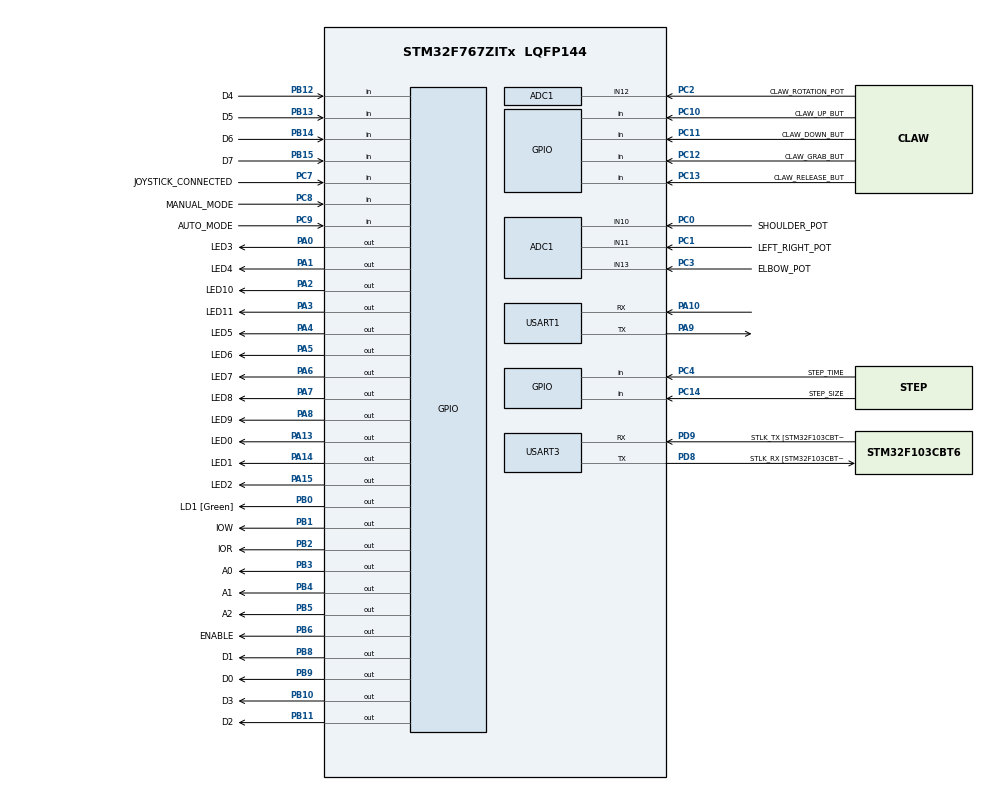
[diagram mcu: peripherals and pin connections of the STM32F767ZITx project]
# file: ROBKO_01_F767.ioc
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ADC1.Channel-0\#ChannelRegularConversion=ADC_CHANNEL_10
ADC1.Channel-1\#ChannelRegularConversion=ADC_CHANNEL_11
ADC1.Channel-2\#ChannelRegularConversion=ADC_CHANNEL_12
ADC1.Channel-3\#ChannelRegularConversion=ADC_CHANNEL_13
ADC1.ClockPrescaler=ADC_CLOCK_SYNC_PCLK_DIV8
ADC1.ContinuousConvMode=ENABLE
ADC1.DMAContinuousRequests=ENABLE
ADC1.EOCSelection=ADC_EOC_SEQ_CONV
ADC1.NbrOfConversion=4
ADC1.NbrOfConversionFlag=1
ADC1.Rank-0\#ChannelRegularConversion=1
ADC1.Rank-1\#ChannelRegularConversion=2
ADC1.Rank-2\#ChannelRegularConversion=3
ADC1.Rank-3\#ChannelRegularConversion=4
ADC1.SamplingTime-0\#ChannelRegularConversion=ADC_SAMPLETIME_112CYCLES
ADC1.SamplingTime-1\#ChannelRegularConversion=ADC_SAMPLETIME_112CYCLES
ADC1.SamplingTime-2\#ChannelRegularConversion=ADC_SAMPLETIME_112CYCLES
ADC1.SamplingTime-3\#ChannelRegularConversion=ADC_SAMPLETIME_112CYCLES
ADC1.ScanConvMode=ADC_SCAN_ENABLE
ADC1.master=1
CORTEX_M7.CPU_DCache=Disabled
Dma.ADC1.0.Direction=DMA_PERIPH_TO_MEMORY
Dma.ADC1.0.FIFOMode=DMA_FIFOMODE_DISABLE
Dma.ADC1.0.Instance=DMA2_Stream0
Dma.ADC1.0.MemDataAlignment=DMA_MDATAALIGN_HALFWORD
Dma.ADC1.0.MemInc=DMA_MINC_ENABLE
Dma.ADC1.0.Mode=DMA_CIRCULAR
Dma.ADC1.0.PeriphDataAlignment=DMA_PDATAALIGN_HALFWORD
Dma.ADC1.0.PeriphInc=DMA_PINC_DISABLE
Dma.ADC1.0.Priority=DMA_PRIORITY_MEDIUM
Dma.Request0=ADC1
Mcu.Family=STM32F7
Mcu.Name=STM32F767ZITx
Mcu.Package=LQFP144
NVIC.DMA2_Stream0_IRQn=true\:0\:0\:false\:false\:true\:false\:true
NVIC.PriorityGroup=NVIC_PRIORITYGROUP_4
NVIC.USART1_IRQn=true\:0\:0\:false\:false\:true\:true\:true
PA0/WKUP.GPIO_Label=LED3
PA0/WKUP.Signal=GPIO_Output
PA1.GPIO_Label=LED4
PA1.Signal=GPIO_Output
PA10.Mode=Asynchronous
PA10.Signal=USART1_RX
PA13.GPIO_Label=LED0
PA13.Signal=GPIO_Output
PA14.GPIO_Label=LED1
PA14.Signal=GPIO_Output
PA15.GPIO_Label=LED2
PA15.Signal=GPIO_Output
PA2.GPIO_Label=LED10
PA2.Signal=GPIO_Output
PA3.GPIO_Label=LED11
PA3.Signal=GPIO_Output
PA4.GPIO_Label=LED5
PA4.Signal=GPIO_Output
PA5.GPIO_Label=LED6
PA5.Signal=GPIO_Output
PA6.GPIO_Label=LED7
PA6.Signal=GPIO_Output
PA7.GPIO_Label=LED8
PA7.Signal=GPIO_Output
PA8.GPIO_Label=LED9
PA8.Signal=GPIO_Output
PA9.Mode=Asynchronous
PA9.Signal=USART1_TX
PB0.GPIO_Label=LD1 [Green]
PB0.Signal=GPIO_Output
PB1.GPIO_Label=IOW
PB1.Signal=GPIO_Output
PB10.GPIO_Label=D3
PB10.Signal=GPIO_Output
PB11.GPIO_Label=D2
PB11.Signal=GPIO_Output
PB12.GPIO_Label=D4
PB12.Signal=GPIO_Input
PB13.GPIO_Label=D5
PB13.Signal=GPIO_Input
PB14.GPIO_Label=D6
PB14.Signal=GPIO_Input
PB15.GPIO_Label=D7
PB15.Signal=GPIO_Input
PB2.GPIO_Label=IOR
PB2.Signal=GPIO_Output
PB3.GPIO_Label=A0
PB3.Signal=GPIO_Output
PB4.GPIO_Label=A1
PB4.Signal=GPIO_Output
PB5.GPIO_Label=A2
PB5.Signal=GPIO_Output
PB6.GPIO_Label=ENABLE
PB6.Signal=GPIO_Output
PB8.GPIO_Label=D1
PB8.Signal=GPIO_Output
PB9.GPIO_Label=D0
PB9.Signal=GPIO_Output
PC0.GPIO_Label=SHOULDER_POT
PC0.Signal=ADCx_IN10
PC1.GPIO_Label=LEFT_RIGHT_POT
PC1.Signal=ADCx_IN11
PC10.GPIO_Label=CLAW_UP_BUT
PC10.Signal=GPIO_Input
PC11.GPIO_Label=CLAW_DOWN_BUT
PC11.Signal=GPIO_Input
PC12.GPIO_Label=CLAW_GRAB_BUT
PC12.Signal=GPIO_Input
PC13.GPIO_Label=CLAW_RELEASE_BUT
PC13.Signal=GPIO_Input
PC14/OSC32_IN.GPIO_Label=STEP_SIZE
PC14/OSC32_IN.Signal=GPIO_Input
PC2.GPIO_Label=CLAW_ROTATION_POT
PC2.Signal=ADCx_IN12
PC3.GPIO_Label=ELBOW_POT
PC3.Signal=ADCx_IN13
PC4.GPIO_Label=STEP_TIME
PC4.Signal=GPIO_Input
PC7.GPIO_Label=JOYSTICK_CONNECTED
PC7.Signal=GPIO_Input
PC8.GPIO_Label=MANUAL_MODE
PC8.Signal=GPIO_Input
PC9.GPIO_Label=AUTO_MODE
PC9.Signal=GPIO_Input
PD8.GPIO_Label=STLK_RX [STM32F103CBT6_PA3]
PD8.Mode=Asynchronous
PD8.Signal=USART3_TX
PD9.GPIO_Label=STLK_TX [STM32F103CBT6_PA2]
PD9.Mode=Asynchronous
PD9.Signal=USART3_RX
PH0/OSC_IN.GPIO_Label=MCO [STM32F103CBT6_PA8]
PH0/OSC_IN.Mode=HSE-External-Clock-Source
PH0/OSC_IN.Signal=RCC_OSC_IN
PH1/OSC_OUT.Mode=HSE-External-Clock-Source
PH1/OSC_OUT.Signal=RCC_OSC_OUT
ProjectManager.HeapSize=0x200
ProjectManager.StackSize=0x400
ProjectManager.TargetToolchain=SW4STM32
RCC.48MHZClocksFreq_Value=24000000
RCC.AHBFreq_Value=160000000
RCC.APB1CLKDivider=RCC_HCLK_DIV4
RCC.APB1Freq_Value=40000000
RCC.APB1TimFreq_Value=80000000
RCC.APB2CLKDivider=RCC_HCLK_DIV2
RCC.APB2Freq_Value=80000000
RCC.APB2TimFreq_Value=160000000
RCC.CortexFreq_Value=160000000
RCC.EnbaleCSS=true
RCC.HCLKFreq_Value=160000000
RCC.HSE_VALUE=8000000
RCC.HSI_VALUE=16000000
RCC.LSE_VALUE=32768
RCC.PLL48CLockSelection=RCC_CLK48SOURCE_PLLSAIP
RCC.PLLM=4
RCC.PLLMUL=RCC_PLL_MUL9
RCC.PLLN=160
RCC.PLLQ=8
RCC.PLLSAIN=96
RCC.PLLSAIP=RCC_PLLSAIP_DIV4
RCC.PLLSourceVirtual=RCC_PLLSOURCE_HSE
RCC.PRESCALERUSB=RCC_USBCLKSOURCE_PLL_DIV1_5
RCC.SYSCLKFreq_VALUE=160000000
RCC.SYSCLKSource=RCC_SYSCLKSOURCE_PLLCLK
RCC.SYSCLKSourceVirtual=RCC_SYSCLKSOURCE_PLLCLK
RCC.USBFreq_Value=48000000
RCC.VCOOutputFreq_Value=320000000
SH.ADCx_IN10.0=ADC1_IN10,IN10
SH.ADCx_IN11.0=ADC1_IN11,IN11
SH.ADCx_IN12.0=ADC1_IN12,IN12
SH.ADCx_IN13.0=ADC1_IN13,IN13
USART1.Parity=PARITY_ODD
USART1.StopBits=STOPBITS_2
USART1.VirtualMode-Asynchronous=VM_ASYNC
USART1.WordLength=WORDLENGTH_9B
USART3.VirtualMode-Asynchronous=VM_ASYNC
board=NUCLEO-F767ZI

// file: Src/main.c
/* USER CODE BEGIN Header */
/**
  ******************************************************************************
  * @file           : main.c
  * @brief          : Main program body
  ******************************************************************************
  * @attention
  *
  * <h2><center>&copy; Copyright (c) 2020 STMicroelectronics.
  * All rights reserved.</center></h2>
  *
  * This software component is licensed by ST under BSD 3-Clause license,
  * the "License"; You may not use this file except in compliance with the
  * License. You may obtain a copy of the License at:
  *                        opensource.org/licenses/BSD-3-Clause
  *
  ******************************************************************************
  */
/* USER CODE END Header */

#include "main.h"

void SystemClock_Config(void);
static void MX_GPIO_Init(void);
static void MX_DMA_Init(void);
static void MX_ADC1_Init(void);
static void MX_USART1_UART_Init(void);
static void MX_USART3_UART_Init(void);

int main(void)
{

  /* MCU Configuration--------------------------------------------------------*/

  /* Reset of all peripherals, Initializes the Flash interface and the Systick. */

  LL_APB1_GRP1_EnableClock(LL_APB1_GRP1_PERIPH_PWR);
  LL_APB2_GRP1_EnableClock(LL_APB2_GRP1_PERIPH_SYSCFG);

  NVIC_SetPriorityGrouping(NVIC_PRIORITYGROUP_4);

  /* System interrupt init*/

  /* Configure the system clock */
  SystemClock_Config();

  /* Initialize all configured peripherals */
  MX_GPIO_Init();
  MX_DMA_Init();
  MX_ADC1_Init();
  MX_USART1_UART_Init();
  MX_USART3_UART_Init();
  /* USER CODE BEGIN 2 */
  DWT_Init();
  //Begin reading potentiometer values
  LL_ADC_REG_StartConversion(ADC1);
  //Enable ROBKO 01
  ENABLE_ROBKO();
  //Initialize ROBKO-01 registers
  stop_motor(ALL_MOTORS);
  /* USER CODE END 2 */

  /* Infinite loop */
  /* USER CODE BEGIN WHILE */
  while (1)
  {
  check_mode();
    /* USER CODE END WHILE */

  }
}

void SystemClock_Config(void)
{
  LL_FLASH_SetLatency(LL_FLASH_LATENCY_5);

  if(LL_FLASH_GetLatency() != LL_FLASH_LATENCY_5)
  {
  Error_Handler();
  }
  LL_PWR_SetRegulVoltageScaling(LL_PWR_REGU_VOLTAGE_SCALE2);
  LL_PWR_DisableOverDriveMode();
  LL_RCC_HSE_EnableBypass();
  LL_RCC_HSE_Enable();

   /* Wait till HSE is ready */
  while(LL_RCC_HSE_IsReady() != 1)
  {

  }
  LL_RCC_HSE_EnableCSS();
  LL_RCC_PLL_ConfigDomain_SYS(LL_RCC_PLLSOURCE_HSE, LL_RCC_PLLM_DIV_4, 160, LL_RCC_PLLP_DIV_2);
  LL_RCC_PLL_Enable();

   /* Wait till PLL is ready */
  while(LL_RCC_PLL_IsReady() != 1)
  {

  }
  LL_RCC_SetAHBPrescaler(LL_RCC_SYSCLK_DIV_1);
  LL_RCC_SetAPB1Prescaler(LL_RCC_APB1_DIV_4);
  LL_RCC_SetAPB2Prescaler(LL_RCC_APB2_DIV_2);
  LL_RCC_SetSysClkSource(LL_RCC_SYS_CLKSOURCE_PLL);

   /* Wait till System clock is ready */
  while(LL_RCC_GetSysClkSource() != LL_RCC_SYS_CLKSOURCE_STATUS_PLL)
  {

  }
  LL_Init1msTick(160000000);
  LL_SYSTICK_SetClkSource(LL_SYSTICK_CLKSOURCE_HCLK);
  LL_SetSystemCoreClock(160000000);
  LL_RCC_SetUSARTClockSource(LL_RCC_USART1_CLKSOURCE_PCLK2);
  LL_RCC_SetUSARTClockSource(LL_RCC_USART3_CLKSOURCE_PCLK1);
}

static void MX_ADC1_Init(void)
{

  LL_ADC_InitTypeDef ADC_InitStruct = {0};
  LL_ADC_REG_InitTypeDef ADC_REG_InitStruct = {0};
  LL_ADC_CommonInitTypeDef ADC_CommonInitStruct = {0};

  LL_GPIO_InitTypeDef GPIO_InitStruct = {0};

  /* Peripheral clock enable */
  LL_APB2_GRP1_EnableClock(LL_APB2_GRP1_PERIPH_ADC1);

  LL_AHB1_GRP1_EnableClock(LL_AHB1_GRP1_PERIPH_GPIOC);
  /**ADC1 GPIO Configuration
  PC0   ------> ADC1_IN10
  PC1   ------> ADC1_IN11
  PC2   ------> ADC1_IN12
  PC3   ------> ADC1_IN13
  */
  GPIO_InitStruct.Pin = SHOULDER_POT_Pin;
  GPIO_InitStruct.Mode = LL_GPIO_MODE_ANALOG;
  GPIO_InitStruct.Pull = LL_GPIO_PULL_NO;
  LL_GPIO_Init(SHOULDER_POT_GPIO_Port, &GPIO_InitStruct);

  GPIO_InitStruct.Pin = LEFT_RIGHT_POT_Pin;
  GPIO_InitStruct.Mode = LL_GPIO_MODE_ANALOG;
  GPIO_InitStruct.Pull = LL_GPIO_PULL_NO;
  LL_GPIO_Init(LEFT_RIGHT_POT_GPIO_Port, &GPIO_InitStruct);

  GPIO_InitStruct.Pin = CLAW_ROTATION_POT_Pin;
  GPIO_InitStruct.Mode = LL_GPIO_MODE_ANALOG;
  GPIO_InitStruct.Pull = LL_GPIO_PULL_NO;
  LL_GPIO_Init(CLAW_ROTATION_POT_GPIO_Port, &GPIO_InitStruct);

  GPIO_InitStruct.Pin = ELBOW_POT_Pin;
  GPIO_InitStruct.Mode = LL_GPIO_MODE_ANALOG;
  GPIO_InitStruct.Pull = LL_GPIO_PULL_NO;
  LL_GPIO_Init(ELBOW_POT_GPIO_Port, &GPIO_InitStruct);

  /* ADC1 DMA Init */

  /* ADC1 Init */
  LL_DMA_SetChannelSelection(DMA2, LL_DMA_STREAM_0, LL_DMA_CHANNEL_0);

  LL_DMA_SetDataTransferDirection(DMA2, LL_DMA_STREAM_0, LL_DMA_DIRECTION_PERIPH_TO_MEMORY);

  LL_DMA_SetStreamPriorityLevel(DMA2, LL_DMA_STREAM_0, LL_DMA_PRIORITY_MEDIUM);

  LL_DMA_SetMode(DMA2, LL_DMA_STREAM_0, LL_DMA_MODE_CIRCULAR);

  LL_DMA_SetPeriphIncMode(DMA2, LL_DMA_STREAM_0, LL_DMA_PERIPH_NOINCREMENT);

  LL_DMA_SetMemoryIncMode(DMA2, LL_DMA_STREAM_0, LL_DMA_MEMORY_INCREMENT);

  LL_DMA_SetPeriphSize(DMA2, LL_DMA_STREAM_0, LL_DMA_PDATAALIGN_HALFWORD);

  LL_DMA_SetMemorySize(DMA2, LL_DMA_STREAM_0, LL_DMA_MDATAALIGN_HALFWORD);

  LL_DMA_DisableFifoMode(DMA2, LL_DMA_STREAM_0);

  /* USER CODE BEGIN ADC1_Init 1 */

/*
  dma_initstruct.NbData                 = 4;
  dma_initstruct.PeriphRequest          = LL_DMA_REQUEST_0;	//??
  dma_initstruct.PeriphOrM2MSrcAddress  = LL_ADC_DMA_GetRegAddr(ADC1, LL_ADC_DMA_REG_REGULAR_DATA);
  dma_initstruct.MemoryOrM2MDstAddress  = (uint32_t) &adc_pot_vals;
//Enable DMA channel for ADC
  LL_DMA_EnableChannel(DMA1, LL_DMA_CHANNEL_1);
*/
  /* USER CODE END ADC1_Init 1 */
  /** Common config
  */
  ADC_InitStruct.Resolution = LL_ADC_RESOLUTION_12B;
  ADC_InitStruct.DataAlignment = LL_ADC_DATA_ALIGN_RIGHT;
  ADC_InitStruct.SequencersScanMode = LL_ADC_SEQ_SCAN_ENABLE;
  LL_ADC_Init(ADC1, &ADC_InitStruct);
  ADC_REG_InitStruct.TriggerSource = LL_ADC_REG_TRIG_SOFTWARE;
  ADC_REG_InitStruct.SequencerLength = LL_ADC_REG_SEQ_SCAN_ENABLE_4RANKS;
  ADC_REG_InitStruct.SequencerDiscont = LL_ADC_REG_SEQ_DISCONT_DISABLE;
  ADC_REG_InitStruct.ContinuousMode = LL_ADC_REG_CONV_CONTINUOUS;
  ADC_REG_InitStruct.DMATransfer = LL_ADC_REG_DMA_TRANSFER_UNLIMITED;
  LL_ADC_REG_Init(ADC1, &ADC_REG_InitStruct);
  LL_ADC_REG_SetFlagEndOfConversion(ADC1, LL_ADC_REG_FLAG_EOC_SEQUENCE_CONV);
  LL_ADC_DisableIT_EOCS(ADC1);
  ADC_CommonInitStruct.CommonClock = LL_ADC_CLOCK_SYNC_PCLK_DIV8;
  ADC_CommonInitStruct.Multimode = LL_ADC_MULTI_INDEPENDENT;
  LL_ADC_CommonInit(__LL_ADC_COMMON_INSTANCE(ADC1), &ADC_CommonInitStruct);
  /** Configure Regular Channel
  */
  LL_ADC_REG_SetSequencerRanks(ADC1, LL_ADC_REG_RANK_1, LL_ADC_CHANNEL_10);
  LL_ADC_SetChannelSamplingTime(ADC1, LL_ADC_CHANNEL_10, LL_ADC_SAMPLINGTIME_112CYCLES);
  /** Configure Regular Channel
  */
  LL_ADC_REG_SetSequencerRanks(ADC1, LL_ADC_REG_RANK_2, LL_ADC_CHANNEL_11);
  LL_ADC_SetChannelSamplingTime(ADC1, LL_ADC_CHANNEL_11, LL_ADC_SAMPLINGTIME_112CYCLES);
  /** Configure Regular Channel
  */
  LL_ADC_REG_SetSequencerRanks(ADC1, LL_ADC_REG_RANK_3, LL_ADC_CHANNEL_12);
  LL_ADC_SetChannelSamplingTime(ADC1, LL_ADC_CHANNEL_12, LL_ADC_SAMPLINGTIME_112CYCLES);
  /** Configure Regular Channel
  */
  LL_ADC_REG_SetSequencerRanks(ADC1, LL_ADC_REG_RANK_4, LL_ADC_CHANNEL_13);
  LL_ADC_SetChannelSamplingTime(ADC1, LL_ADC_CHANNEL_13, LL_ADC_SAMPLINGTIME_112CYCLES);
  /* USER CODE BEGIN ADC1_Init 2 */
	Activate_ADC();
  /* USER CODE END ADC1_Init 2 */

}

static void MX_USART1_UART_Init(void)
{

  LL_USART_InitTypeDef USART_InitStruct = {0};

  LL_GPIO_InitTypeDef GPIO_InitStruct = {0};

  /* Peripheral clock enable */
  LL_APB2_GRP1_EnableClock(LL_APB2_GRP1_PERIPH_USART1);

  LL_AHB1_GRP1_EnableClock(LL_AHB1_GRP1_PERIPH_GPIOA);
  /**USART1 GPIO Configuration
  PA9   ------> USART1_TX
  PA10   ------> USART1_RX
  */
  GPIO_InitStruct.Pin = LL_GPIO_PIN_9;
  GPIO_InitStruct.Mode = LL_GPIO_MODE_ALTERNATE;
  GPIO_InitStruct.Speed = LL_GPIO_SPEED_FREQ_VERY_HIGH;
  GPIO_InitStruct.OutputType = LL_GPIO_OUTPUT_PUSHPULL;
  GPIO_InitStruct.Pull = LL_GPIO_PULL_NO;
  GPIO_InitStruct.Alternate = LL_GPIO_AF_7;
  LL_GPIO_Init(GPIOA, &GPIO_InitStruct);

  GPIO_InitStruct.Pin = LL_GPIO_PIN_10;
  GPIO_InitStruct.Mode = LL_GPIO_MODE_ALTERNATE;
  GPIO_InitStruct.Speed = LL_GPIO_SPEED_FREQ_VERY_HIGH;
  GPIO_InitStruct.OutputType = LL_GPIO_OUTPUT_PUSHPULL;
  GPIO_InitStruct.Pull = LL_GPIO_PULL_NO;
  GPIO_InitStruct.Alternate = LL_GPIO_AF_7;
  LL_GPIO_Init(GPIOA, &GPIO_InitStruct);

  /* USART1 interrupt Init */
  NVIC_SetPriority(USART1_IRQn, NVIC_EncodePriority(NVIC_GetPriorityGrouping(),0, 0));
  NVIC_EnableIRQ(USART1_IRQn);

  USART_InitStruct.BaudRate = 115200;
  USART_InitStruct.DataWidth = LL_USART_DATAWIDTH_9B;
  USART_InitStruct.StopBits = LL_USART_STOPBITS_2;
  USART_InitStruct.Parity = LL_USART_PARITY_ODD;
  USART_InitStruct.TransferDirection = LL_USART_DIRECTION_TX_RX;
  USART_InitStruct.HardwareFlowControl = LL_USART_HWCONTROL_NONE;
  USART_InitStruct.OverSampling = LL_USART_OVERSAMPLING_16;
  LL_USART_Init(USART1, &USART_InitStruct);
  LL_USART_ConfigAsyncMode(USART1);
  LL_USART_Enable(USART1);

}

static void MX_USART3_UART_Init(void)
{

  LL_USART_InitTypeDef USART_InitStruct = {0};

  LL_GPIO_InitTypeDef GPIO_InitStruct = {0};

  /* Peripheral clock enable */
  LL_APB1_GRP1_EnableClock(LL_APB1_GRP1_PERIPH_USART3);

  LL_AHB1_GRP1_EnableClock(LL_AHB1_GRP1_PERIPH_GPIOD);
  /**USART3 GPIO Configuration
  PD8   ------> USART3_TX
  PD9   ------> USART3_RX
  */
  GPIO_InitStruct.Pin = STLK_RX_Pin;
  GPIO_InitStruct.Mode = LL_GPIO_MODE_ALTERNATE;
  GPIO_InitStruct.Speed = LL_GPIO_SPEED_FREQ_VERY_HIGH;
  GPIO_InitStruct.OutputType = LL_GPIO_OUTPUT_PUSHPULL;
  GPIO_InitStruct.Pull = LL_GPIO_PULL_NO;
  GPIO_InitStruct.Alternate = LL_GPIO_AF_7;
  LL_GPIO_Init(STLK_RX_GPIO_Port, &GPIO_InitStruct);

  GPIO_InitStruct.Pin = STLK_TX_Pin;
  GPIO_InitStruct.Mode = LL_GPIO_MODE_ALTERNATE;
  GPIO_InitStruct.Speed = LL_GPIO_SPEED_FREQ_VERY_HIGH;
  GPIO_InitStruct.OutputType = LL_GPIO_OUTPUT_PUSHPULL;
  GPIO_InitStruct.Pull = LL_GPIO_PULL_NO;
  GPIO_InitStruct.Alternate = LL_GPIO_AF_7;
  LL_GPIO_Init(STLK_TX_GPIO_Port, &GPIO_InitStruct);

  USART_InitStruct.BaudRate = 115200;
  USART_InitStruct.DataWidth = LL_USART_DATAWIDTH_8B;
  USART_InitStruct.StopBits = LL_USART_STOPBITS_1;
  USART_InitStruct.Parity = LL_USART_PARITY_NONE;
  USART_InitStruct.TransferDirection = LL_USART_DIRECTION_TX_RX;
  USART_InitStruct.HardwareFlowControl = LL_USART_HWCONTROL_NONE;
  USART_InitStruct.OverSampling = LL_USART_OVERSAMPLING_16;
  LL_USART_Init(USART3, &USART_InitStruct);
  LL_USART_ConfigAsyncMode(USART3);
  LL_USART_Enable(USART3);

}

static void MX_DMA_Init(void)
{

  /* Init with LL driver */
  /* DMA controller clock enable */
  LL_AHB1_GRP1_EnableClock(LL_AHB1_GRP1_PERIPH_DMA2);

  /* DMA interrupt init */
  /* DMA2_Stream0_IRQn interrupt configuration */
  NVIC_SetPriority(DMA2_Stream0_IRQn, NVIC_EncodePriority(NVIC_GetPriorityGrouping(),0, 0));
  NVIC_EnableIRQ(DMA2_Stream0_IRQn);

}

static void MX_GPIO_Init(void)
{
  LL_GPIO_InitTypeDef GPIO_InitStruct = {0};

  /* GPIO Ports Clock Enable */
  LL_AHB1_GRP1_EnableClock(LL_AHB1_GRP1_PERIPH_GPIOC);
  LL_AHB1_GRP1_EnableClock(LL_AHB1_GRP1_PERIPH_GPIOH);
  LL_AHB1_GRP1_EnableClock(LL_AHB1_GRP1_PERIPH_GPIOA);
  LL_AHB1_GRP1_EnableClock(LL_AHB1_GRP1_PERIPH_GPIOB);
  LL_AHB1_GRP1_EnableClock(LL_AHB1_GRP1_PERIPH_GPIOD);

  /**/
  LL_GPIO_ResetOutputPin(LED3_GPIO_Port, LED3_Pin);

  /**/
  LL_GPIO_ResetOutputPin(LED4_GPIO_Port, LED4_Pin);

  /**/
  LL_GPIO_ResetOutputPin(LED10_GPIO_Port, LED10_Pin);

  /**/
  LL_GPIO_ResetOutputPin(LED11_GPIO_Port, LED11_Pin);

  /**/
  LL_GPIO_ResetOutputPin(LED5_GPIO_Port, LED5_Pin);

  /**/
  LL_GPIO_ResetOutputPin(LED6_GPIO_Port, LED6_Pin);

  /**/
  LL_GPIO_ResetOutputPin(LED7_GPIO_Port, LED7_Pin);

  /**/
  LL_GPIO_ResetOutputPin(LED8_GPIO_Port, LED8_Pin);

  /**/
  LL_GPIO_ResetOutputPin(LD1_GPIO_Port, LD1_Pin);

  /**/
  LL_GPIO_ResetOutputPin(IOW_GPIO_Port, IOW_Pin);

  /**/
  LL_GPIO_ResetOutputPin(IOR_GPIO_Port, IOR_Pin);

  /**/
  LL_GPIO_ResetOutputPin(D3_GPIO_Port, D3_Pin);

  /**/
  LL_GPIO_ResetOutputPin(D2_GPIO_Port, D2_Pin);

  /**/
  LL_GPIO_ResetOutputPin(LED9_GPIO_Port, LED9_Pin);

  /**/
  LL_GPIO_ResetOutputPin(LED0_GPIO_Port, LED0_Pin);

  /**/
  LL_GPIO_ResetOutputPin(LED1_GPIO_Port, LED1_Pin);

  /**/
  LL_GPIO_ResetOutputPin(LED2_GPIO_Port, LED2_Pin);

  /**/
  LL_GPIO_ResetOutputPin(A0_GPIO_Port, A0_Pin);

  /**/
  LL_GPIO_ResetOutputPin(A1_GPIO_Port, A1_Pin);

  /**/
  LL_GPIO_ResetOutputPin(A2_GPIO_Port, A2_Pin);

  /**/
  LL_GPIO_ResetOutputPin(ENABLE_GPIO_Port, ENABLE_Pin);

  /**/
  LL_GPIO_ResetOutputPin(D1_GPIO_Port, D1_Pin);

  /**/
  LL_GPIO_ResetOutputPin(D0_GPIO_Port, D0_Pin);

  /**/
  GPIO_InitStruct.Pin = CLAW_RELEASE_BUT_Pin;
  GPIO_InitStruct.Mode = LL_GPIO_MODE_INPUT;
  GPIO_InitStruct.Pull = LL_GPIO_PULL_NO;
  LL_GPIO_Init(CLAW_RELEASE_BUT_GPIO_Port, &GPIO_InitStruct);

  /**/
  GPIO_InitStruct.Pin = STEP_SIZE_Pin;
  GPIO_InitStruct.Mode = LL_GPIO_MODE_INPUT;
  GPIO_InitStruct.Pull = LL_GPIO_PULL_NO;
  LL_GPIO_Init(STEP_SIZE_GPIO_Port, &GPIO_InitStruct);

  /**/
  GPIO_InitStruct.Pin = LED3_Pin;
  GPIO_InitStruct.Mode = LL_GPIO_MODE_OUTPUT;
  GPIO_InitStruct.Speed = LL_GPIO_SPEED_FREQ_LOW;
  GPIO_InitStruct.OutputType = LL_GPIO_OUTPUT_PUSHPULL;
  GPIO_InitStruct.Pull = LL_GPIO_PULL_NO;
  LL_GPIO_Init(LED3_GPIO_Port, &GPIO_InitStruct);

  /**/
  GPIO_InitStruct.Pin = LED4_Pin;
  GPIO_InitStruct.Mode = LL_GPIO_MODE_OUTPUT;
  GPIO_InitStruct.Speed = LL_GPIO_SPEED_FREQ_LOW;
  GPIO_InitStruct.OutputType = LL_GPIO_OUTPUT_PUSHPULL;
  GPIO_InitStruct.Pull = LL_GPIO_PULL_NO;
  LL_GPIO_Init(LED4_GPIO_Port, &GPIO_InitStruct);

  /**/
  GPIO_InitStruct.Pin = LED10_Pin;
  GPIO_InitStruct.Mode = LL_GPIO_MODE_OUTPUT;
  GPIO_InitStruct.Speed = LL_GPIO_SPEED_FREQ_LOW;
  GPIO_InitStruct.OutputType = LL_GPIO_OUTPUT_PUSHPULL;
  GPIO_InitStruct.Pull = LL_GPIO_PULL_NO;
  LL_GPIO_Init(LED10_GPIO_Port, &GPIO_InitStruct);

  /**/
  GPIO_InitStruct.Pin = LED11_Pin;
  GPIO_InitStruct.Mode = LL_GPIO_MODE_OUTPUT;
  GPIO_InitStruct.Speed = LL_GPIO_SPEED_FREQ_LOW;
  GPIO_InitStruct.OutputType = LL_GPIO_OUTPUT_PUSHPULL;
  GPIO_InitStruct.Pull = LL_GPIO_PULL_NO;
  LL_GPIO_Init(LED11_GPIO_Port, &GPIO_InitStruct);

  /**/
  GPIO_InitStruct.Pin = LED5_Pin;
  GPIO_InitStruct.Mode = LL_GPIO_MODE_OUTPUT;
  GPIO_InitStruct.Speed = LL_GPIO_SPEED_FREQ_LOW;
  GPIO_InitStruct.OutputType = LL_GPIO_OUTPUT_PUSHPULL;
  GPIO_InitStruct.Pull = LL_GPIO_PULL_NO;
  LL_GPIO_Init(LED5_GPIO_Port, &GPIO_InitStruct);

  /**/
  GPIO_InitStruct.Pin = LED6_Pin;
  GPIO_InitStruct.Mode = LL_GPIO_MODE_OUTPUT;
  GPIO_InitStruct.Speed = LL_GPIO_SPEED_FREQ_LOW;
  GPIO_InitStruct.OutputType = LL_GPIO_OUTPUT_PUSHPULL;
  GPIO_InitStruct.Pull = LL_GPIO_PULL_NO;
  LL_GPIO_Init(LED6_GPIO_Port, &GPIO_InitStruct);

  /**/
  GPIO_InitStruct.Pin = LED7_Pin;
  GPIO_InitStruct.Mode = LL_GPIO_MODE_OUTPUT;
  GPIO_InitStruct.Speed = LL_GPIO_SPEED_FREQ_LOW;
  GPIO_InitStruct.OutputType = LL_GPIO_OUTPUT_PUSHPULL;
  GPIO_InitStruct.Pull = LL_GPIO_PULL_NO;
  LL_GPIO_Init(LED7_GPIO_Port, &GPIO_InitStruct);

  /**/
  GPIO_InitStruct.Pin = LED8_Pin;
  GPIO_InitStruct.Mode = LL_GPIO_MODE_OUTPUT;
  GPIO_InitStruct.Speed = LL_GPIO_SPEED_FREQ_LOW;
  GPIO_InitStruct.OutputType = LL_GPIO_OUTPUT_PUSHPULL;
  GPIO_InitStruct.Pull = LL_GPIO_PULL_NO;
  LL_GPIO_Init(LED8_GPIO_Port, &GPIO_InitStruct);

  /**/
  GPIO_InitStruct.Pin = STEP_TIME_Pin;
  GPIO_InitStruct.Mode = LL_GPIO_MODE_INPUT;
  GPIO_InitStruct.Pull = LL_GPIO_PULL_NO;
  LL_GPIO_Init(STEP_TIME_GPIO_Port, &GPIO_InitStruct);

  /**/
  GPIO_InitStruct.Pin = LD1_Pin;
  GPIO_InitStruct.Mode = LL_GPIO_MODE_OUTPUT;
  GPIO_InitStruct.Speed = LL_GPIO_SPEED_FREQ_LOW;
  GPIO_InitStruct.OutputType = LL_GPIO_OUTPUT_PUSHPULL;
  GPIO_InitStruct.Pull = LL_GPIO_PULL_NO;
  LL_GPIO_Init(LD1_GPIO_Port, &GPIO_InitStruct);

  /**/
  GPIO_InitStruct.Pin = IOW_Pin;
  GPIO_InitStruct.Mode = LL_GPIO_MODE_OUTPUT;
  GPIO_InitStruct.Speed = LL_GPIO_SPEED_FREQ_LOW;
  GPIO_InitStruct.OutputType = LL_GPIO_OUTPUT_PUSHPULL;
  GPIO_InitStruct.Pull = LL_GPIO_PULL_NO;
  LL_GPIO_Init(IOW_GPIO_Port, &GPIO_InitStruct);

  /**/
  GPIO_InitStruct.Pin = IOR_Pin;
  GPIO_InitStruct.Mode = LL_GPIO_MODE_OUTPUT;
  GPIO_InitStruct.Speed = LL_GPIO_SPEED_FREQ_LOW;
  GPIO_InitStruct.OutputType = LL_GPIO_OUTPUT_PUSHPULL;
  GPIO_InitStruct.Pull = LL_GPIO_PULL_NO;
  LL_GPIO_Init(IOR_GPIO_Port, &GPIO_InitStruct);

  /**/
  GPIO_InitStruct.Pin = D3_Pin;
  GPIO_InitStruct.Mode = LL_GPIO_MODE_OUTPUT;
  GPIO_InitStruct.Speed = LL_GPIO_SPEED_FREQ_LOW;
  GPIO_InitStruct.OutputType = LL_GPIO_OUTPUT_PUSHPULL;
  GPIO_InitStruct.Pull = LL_GPIO_PULL_NO;
  LL_GPIO_Init(D3_GPIO_Port, &GPIO_InitStruct);

  /**/
  GPIO_InitStruct.Pin = D2_Pin;
  GPIO_InitStruct.Mode = LL_GPIO_MODE_OUTPUT;
  GPIO_InitStruct.Speed = LL_GPIO_SPEED_FREQ_LOW;
  GPIO_InitStruct.OutputType = LL_GPIO_OUTPUT_PUSHPULL;
  GPIO_InitStruct.Pull = LL_GPIO_PULL_NO;
  LL_GPIO_Init(D2_GPIO_Port, &GPIO_InitStruct);

  /**/
  GPIO_InitStruct.Pin = D4_Pin;
  GPIO_InitStruct.Mode = LL_GPIO_MODE_INPUT;
  GPIO_InitStruct.Pull = LL_GPIO_PULL_NO;
  LL_GPIO_Init(D4_GPIO_Port, &GPIO_InitStruct);

  /**/
  GPIO_InitStruct.Pin = D5_Pin;
  GPIO_InitStruct.Mode = LL_GPIO_MODE_INPUT;
  GPIO_InitStruct.Pull = LL_GPIO_PULL_NO;
  LL_GPIO_Init(D5_GPIO_Port, &GPIO_InitStruct);

  /**/
  GPIO_InitStruct.Pin = D6_Pin;
  GPIO_InitStruct.Mode = LL_GPIO_MODE_INPUT;
  GPIO_InitStruct.Pull = LL_GPIO_PULL_NO;
  LL_GPIO_Init(D6_GPIO_Port, &GPIO_InitStruct);

  /**/
  GPIO_InitStruct.Pin = D7_Pin;
  GPIO_InitStruct.Mode = LL_GPIO_MODE_INPUT;
  GPIO_InitStruct.Pull = LL_GPIO_PULL_NO;
  LL_GPIO_Init(D7_GPIO_Port, &GPIO_InitStruct);

  /**/
  GPIO_InitStruct.Pin = JOYSTICK_CONNECTED_Pin;
  GPIO_InitStruct.Mode = LL_GPIO_MODE_INPUT;
  GPIO_InitStruct.Pull = LL_GPIO_PULL_NO;
  LL_GPIO_Init(JOYSTICK_CONNECTED_GPIO_Port, &GPIO_InitStruct);

  /**/
  GPIO_InitStruct.Pin = MANUAL_Pin;
  GPIO_InitStruct.Mode = LL_GPIO_MODE_INPUT;
  GPIO_InitStruct.Pull = LL_GPIO_PULL_NO;
  LL_GPIO_Init(MANUAL_GPIO_Port, &GPIO_InitStruct);

  /**/
  GPIO_InitStruct.Pin = AUTO_Pin;
  GPIO_InitStruct.Mode = LL_GPIO_MODE_INPUT;
  GPIO_InitStruct.Pull = LL_GPIO_PULL_NO;
  LL_GPIO_Init(AUTO_GPIO_Port, &GPIO_InitStruct);

  /**/
  GPIO_InitStruct.Pin = LED9_Pin;
  GPIO_InitStruct.Mode = LL_GPIO_MODE_OUTPUT;
  GPIO_InitStruct.Speed = LL_GPIO_SPEED_FREQ_LOW;
  GPIO_InitStruct.OutputType = LL_GPIO_OUTPUT_PUSHPULL;
  GPIO_InitStruct.Pull = LL_GPIO_PULL_NO;
  LL_GPIO_Init(LED9_GPIO_Port, &GPIO_InitStruct);

  /**/
  GPIO_InitStruct.Pin = LED0_Pin;
  GPIO_InitStruct.Mode = LL_GPIO_MODE_OUTPUT;
  GPIO_InitStruct.Speed = LL_GPIO_SPEED_FREQ_LOW;
  GPIO_InitStruct.OutputType = LL_GPIO_OUTPUT_PUSHPULL;
  GPIO_InitStruct.Pull = LL_GPIO_PULL_NO;
  LL_GPIO_Init(LED0_GPIO_Port, &GPIO_InitStruct);

  /**/
  GPIO_InitStruct.Pin = LED1_Pin;
  GPIO_InitStruct.Mode = LL_GPIO_MODE_OUTPUT;
  GPIO_InitStruct.Speed = LL_GPIO_SPEED_FREQ_LOW;
  GPIO_InitStruct.OutputType = LL_GPIO_OUTPUT_PUSHPULL;
  GPIO_InitStruct.Pull = LL_GPIO_PULL_NO;
  LL_GPIO_Init(LED1_GPIO_Port, &GPIO_InitStruct);

  /**/
  GPIO_InitStruct.Pin = LED2_Pin;
  GPIO_InitStruct.Mode = LL_GPIO_MODE_OUTPUT;
  GPIO_InitStruct.Speed = LL_GPIO_SPEED_FREQ_LOW;
  GPIO_InitStruct.OutputType = LL_GPIO_OUTPUT_PUSHPULL;
  GPIO_InitStruct.Pull = LL_GPIO_PULL_NO;
  LL_GPIO_Init(LED2_GPIO_Port, &GPIO_InitStruct);

  /**/
  GPIO_InitStruct.Pin = CLAW_UP_BUT_Pin;
  GPIO_InitStruct.Mode = LL_GPIO_MODE_INPUT;
  GPIO_InitStruct.Pull = LL_GPIO_PULL_NO;
  LL_GPIO_Init(CLAW_UP_BUT_GPIO_Port, &GPIO_InitStruct);

  /**/
  GPIO_InitStruct.Pin = CLAW_DOWN_BUT_Pin;
  GPIO_InitStruct.Mode = LL_GPIO_MODE_INPUT;
  GPIO_InitStruct.Pull = LL_GPIO_PULL_NO;
  LL_GPIO_Init(CLAW_DOWN_BUT_GPIO_Port, &GPIO_InitStruct);

  /**/
  GPIO_InitStruct.Pin = CLAW_GRAB_BUT_Pin;
  GPIO_InitStruct.Mode = LL_GPIO_MODE_INPUT;
  GPIO_InitStruct.Pull = LL_GPIO_PULL_NO;
  LL_GPIO_Init(CLAW_GRAB_BUT_GPIO_Port, &GPIO_InitStruct);

  /**/
  GPIO_InitStruct.Pin = A0_Pin;
  GPIO_InitStruct.Mode = LL_GPIO_MODE_OUTPUT;
  GPIO_InitStruct.Speed = LL_GPIO_SPEED_FREQ_LOW;
  GPIO_InitStruct.OutputType = LL_GPIO_OUTPUT_PUSHPULL;
  GPIO_InitStruct.Pull = LL_GPIO_PULL_NO;
  LL_GPIO_Init(A0_GPIO_Port, &GPIO_InitStruct);

  /**/
  GPIO_InitStruct.Pin = A1_Pin;
  GPIO_InitStruct.Mode = LL_GPIO_MODE_OUTPUT;
  GPIO_InitStruct.Speed = LL_GPIO_SPEED_FREQ_LOW;
  GPIO_InitStruct.OutputType = LL_GPIO_OUTPUT_PUSHPULL;
  GPIO_InitStruct.Pull = LL_GPIO_PULL_NO;
  LL_GPIO_Init(A1_GPIO_Port, &GPIO_InitStruct);

  /**/
  GPIO_InitStruct.Pin = A2_Pin;
  GPIO_InitStruct.Mode = LL_GPIO_MODE_OUTPUT;
  GPIO_InitStruct.Speed = LL_GPIO_SPEED_FREQ_LOW;
  GPIO_InitStruct.OutputType = LL_GPIO_OUTPUT_PUSHPULL;
  GPIO_InitStruct.Pull = LL_GPIO_PULL_NO;
  LL_GPIO_Init(A2_GPIO_Port, &GPIO_InitStruct);

  /**/
  GPIO_InitStruct.Pin = ENABLE_Pin;
  GPIO_InitStruct.Mode = LL_GPIO_MODE_OUTPUT;
  GPIO_InitStruct.Speed = LL_GPIO_SPEED_FREQ_LOW;
  GPIO_InitStruct.OutputType = LL_GPIO_OUTPUT_PUSHPULL;
  GPIO_InitStruct.Pull = LL_GPIO_PULL_NO;
  LL_GPIO_Init(ENABLE_GPIO_Port, &GPIO_InitStruct);

  /**/
  GPIO_InitStruct.Pin = D1_Pin;
  GPIO_InitStruct.Mode = LL_GPIO_MODE_OUTPUT;
  GPIO_InitStruct.Speed = LL_GPIO_SPEED_FREQ_LOW;
  GPIO_InitStruct.OutputType = LL_GPIO_OUTPUT_PUSHPULL;
  GPIO_InitStruct.Pull = LL_GPIO_PULL_NO;
  LL_GPIO_Init(D1_GPIO_Port, &GPIO_InitStruct);

  /**/
  GPIO_InitStruct.Pin = D0_Pin;
  GPIO_InitStruct.Mode = LL_GPIO_MODE_OUTPUT;
  GPIO_InitStruct.Speed = LL_GPIO_SPEED_FREQ_LOW;
  GPIO_InitStruct.OutputType = LL_GPIO_OUTPUT_PUSHPULL;
  GPIO_InitStruct.Pull = LL_GPIO_PULL_NO;
  LL_GPIO_Init(D0_GPIO_Port, &GPIO_InitStruct);

}

/* USER CODE BEGIN 4 */
/**
  * @brief  Perform ADC activation procedure to make it ready to convert
  *         (ADC instance: ADC1).
  * @note   Operations:
  *         - ADC instance
  *           - Disable deep power down
  *           - Enable internal voltage regulator
  *           - Run ADC self calibration
  *           - Enable ADC
  *         - ADC group regular
  *           none: ADC conversion start-stop to be performed
  *                 after this function
  *         - ADC group injected
  *           none: ADC conversion start-stop to be performed
  *                 after this function
  * @param  None
  * @retval None
  */
static void Activate_ADC(void)
{
  __IO uint32_t wait_loop_index = 0;
  #if (USE_TIMEOUT == 1)
  uint32_t Timeout = 0; /* Variable used for timeout management */
  #endif /* USE_TIMEOUT */

  /*## Operation on ADC hierarchical scope: ADC instance #####################*/

  /* Note: Hardware constraint (refer to description of the functions         */
  /*       below):                                                            */
  /*       On this STM32 serie, setting of these features is conditioned to   */
  /*       ADC state:                                                         */
  /*       ADC must be disabled.                                              */
  /* Note: In this example, all these checks are not necessary but are        */
  /*       implemented anyway to show the best practice usages                */
  /*       corresponding to reference manual procedure.                       */
  /*       Software can be optimized by removing some of these checks, if     */
  /*       they are not relevant considering previous settings and actions    */
  /*       in user application.                                               */
  if (LL_ADC_IsEnabled(ADC1) == 0)
  {
    /* Disable ADC deep power down (enabled by default after reset state) */
    LL_ADC_DisableDeepPowerDown(ADC1);

    /* Enable ADC internal voltage regulator */
    LL_ADC_EnableInternalRegulator(ADC1);

    /* Delay for ADC internal voltage regulator stabilization.                */
    /* Compute number of CPU cycles to wait for, from delay in us.            */
    /* Note: Variable divided by 2 to compensate partially                    */
    /*       CPU processing cycles (depends on compilation optimization).     */
    /* Note: If system core clock frequency is below 200kHz, wait time        */
    /*       is only a few CPU processing cycles.                             */
    wait_loop_index = ((LL_ADC_DELAY_INTERNAL_REGUL_STAB_US * (SystemCoreClock / (100000 * 2))) / 10);
    while(wait_loop_index != 0)
    {
      wait_loop_index--;
    }

    /* Run ADC self calibration */
    LL_ADC_StartCalibration(ADC1, LL_ADC_SINGLE_ENDED);

    /* Poll for ADC effectively calibrated */
    #if (USE_TIMEOUT == 1)
    Timeout = ADC_CALIBRATION_TIMEOUT_MS;
    #endif /* USE_TIMEOUT */

    while (LL_ADC_IsCalibrationOnGoing(ADC1) != 0)
    {
    #if (USE_TIMEOUT == 1)
      /* Check Systick counter flag to decrement the time-out value */
      if (LL_SYSTICK_IsActiveCounterFlag())
      {
        if(Timeout-- == 0)
        {
        /* Time-out occurred. Set LED to blinking mode */
        LED_Blinking(LED_BLINK_ERROR);
        }
      }
    #endif /* USE_TIMEOUT */
    }

    /* Delay between ADC end of calibration and ADC enable.                   */
    /* Note: Variable divided by 2 to compensate partially                    */
    /*       CPU processing cycles (depends on compilation optimization).     */
    wait_loop_index = (ADC_DELAY_CALIB_ENABLE_CPU_CYCLES >> 1);
    while(wait_loop_index != 0)
    {
      wait_loop_index--;
    }

    /* Enable ADC */
    LL_ADC_Enable(ADC1);

    /* Poll for ADC ready to convert */
    #if (USE_TIMEOUT == 1)
    Timeout = ADC_ENABLE_TIMEOUT_MS;
    #endif /* USE_TIMEOUT */

    while (LL_ADC_IsActiveFlag_ADRDY(ADC1) == 0)
    {
    #if (USE_TIMEOUT == 1)
      /* Check Systick counter flag to decrement the time-out value */
      if (LL_SYSTICK_IsActiveCounterFlag())
      {
        if(Timeout-- == 0)
        {
        /* Time-out occurred. Set LED to blinking mode */
        LED_Blinking(LED_BLINK_ERROR);
        }
      }
    #endif /* USE_TIMEOUT */
    }

    /* Note: ADC flag ADRDY is not cleared here to be able to check ADC       */
    /*       status afterwards.                                               */
    /*       This flag should be cleared at ADC Deactivation, before a new    */
    /*       ADC activation, using function "LL_ADC_ClearFlag_ADRDY()".       */
  }

  /*## Operation on ADC hierarchical scope: ADC group regular ################*/
  /* Note: No operation on ADC group regular performed here.                  */
  /*       ADC group regular conversions to be performed after this function  */
  /*       using function:                                                    */
  /*       "LL_ADC_REG_StartConversion();"                                    */

  /*## Operation on ADC hierarchical scope: ADC group injected ###############*/
  /* Note: No operation on ADC group injected performed here.                 */
  /*       ADC group injected conversions to be performed after this function */
  /*       using function:                                                    */
  /*       "LL_ADC_INJ_StartConversion();"                                    */

}
/* USER CODE END 4 */

void Error_Handler(void)
{
}

/************************ (C) COPYRIGHT STMicroelectronics *****END OF FILE****/
